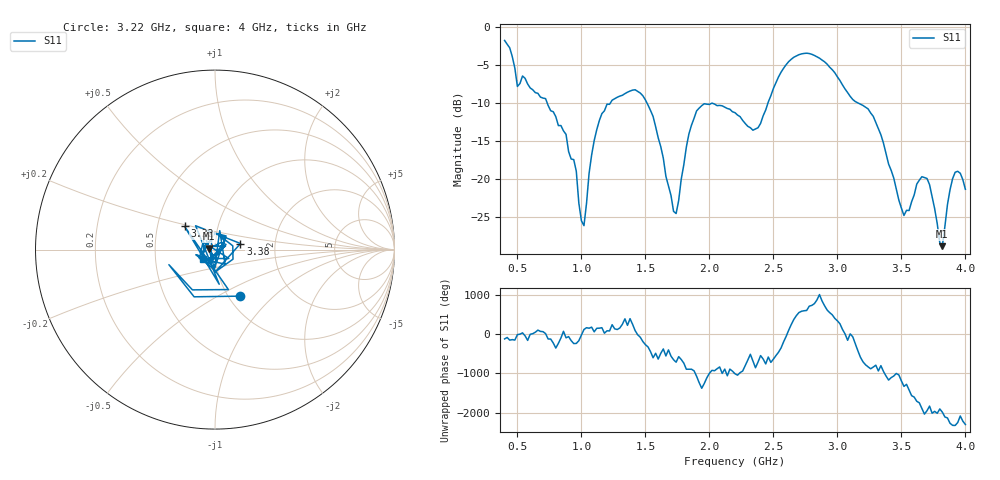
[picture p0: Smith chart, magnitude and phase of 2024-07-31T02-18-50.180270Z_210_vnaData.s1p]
!Created with skrf (http://scikit-rf.org).
# Hz S RI R 50.0
!freq ReS11 ImS11
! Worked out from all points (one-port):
!   181 points, 400 MHz to 4 GHz, reference 50 ohm
!   lowest |S11| = -28.9 dB at 3.82 GHz (marker M1), VSWR 1.07, Z = 46.5 + j0.432 ohm
!   |S11| at or under -10 dB: 731.8 MHz to 1.228 GHz (496.2 MHz wide, 50.6 % of centre); 1.511 GHz to 2.458 GHz (947.5 MHz wide, 47.7 % of centre); 3.156 GHz to end of sweep
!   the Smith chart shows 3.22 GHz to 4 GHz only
!   S11 on the Smith chart (normalised r, x): 3.22 GHz: 1.13, -0.64; 3.32 GHz: 0.69, +0.19; 3.38 GHz: 1.33, +0.09; 4 GHz: 0.87, -0.09
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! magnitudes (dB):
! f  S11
! 400 MHz  -1.8
! 500 MHz  -7.9
! 560 MHz  -6.8
! 860 MHz  -13.7
! 960 MHz  -19.0
! 1.02 GHz  -26.2
! 1.12 GHz  -13.6
! 1.3 GHz  -9.1
! 1.5 GHz  -9.6
! 1.62 GHz  -15.8
! 1.72 GHz  -24.3
! 1.76 GHz  -22.9
! 1.84 GHz  -14.1
! 1.9 GHz  -11.1
! 2.2 GHz  -11.3
! 2.38 GHz  -13.3
! 2.66 GHz  -4.0
! 2.86 GHz  -4.2
! 3.1 GHz  -9.2
! 3.22 GHz  -10.6
! 3.32 GHz  -13.4
! 3.38 GHz  -16.7
! 3.52 GHz  -24.8
! 3.56 GHz  -24.2
! 3.7 GHz  -20.0
! 3.82 GHz  -28.9
! 3.92 GHz  -19.1
! 4 GHz  -21.4
